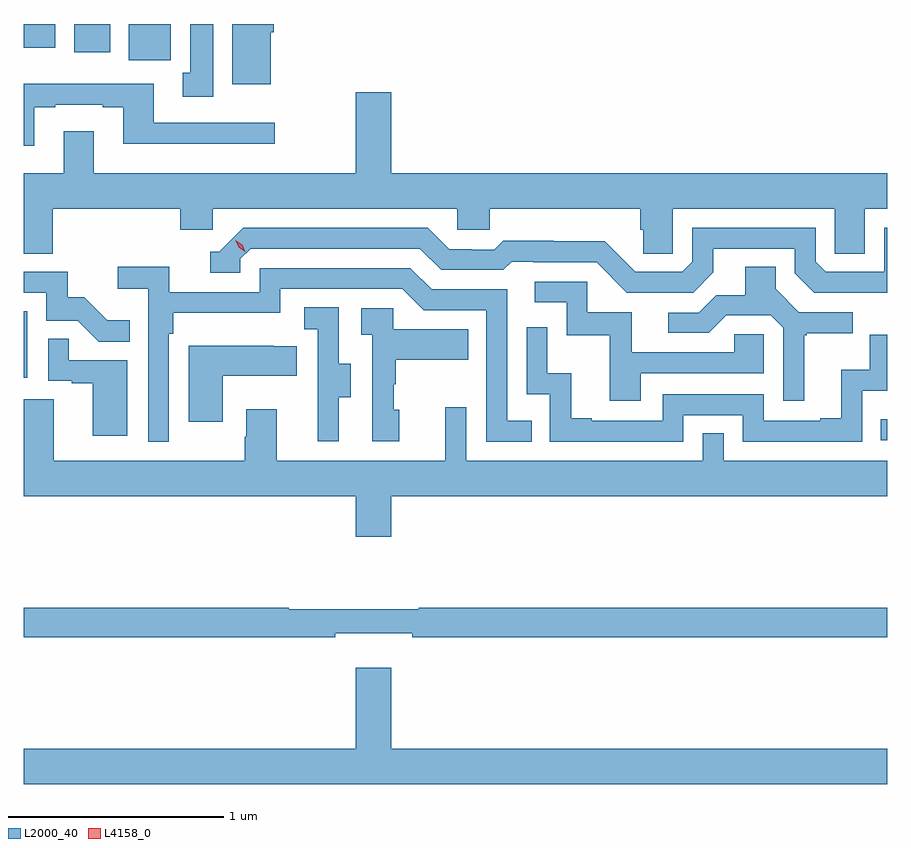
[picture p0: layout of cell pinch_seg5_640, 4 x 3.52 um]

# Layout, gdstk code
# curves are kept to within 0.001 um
import gdstk
lib = gdstk.Library(unit=1e-6, precision=1e-09)
def R(c, l, rs):  # rectangles x0, y0, x1, y1
    for r in rs: c.add(gdstk.rectangle(r[:2], r[2:], *l))
def P(c, l, *ps):  # polygons
    for p in ps: c.add(gdstk.Polygon(p, *l))
L2000_40 = (2000, 40)
L4158_0 = (4158, 0)

pinch_seg5_640 = lib.new_cell('pinch_seg5_640')
R(pinch_seg5_640, L2000_40, [(1030.573,859.683,1030.605,859.78), (1026.605,859.974,1026.622,860.281), (1027.091,861.444,1027.287,861.611), (1026.839,861.48,1027.006,861.611), (1026.605,861.5,1026.751,861.611)])
P(pinch_seg5_640, L2000_40, [(1027.75,861.572),(1027.763,861.572),(1027.763,861.611),(1027.571,861.611),(1027.571,861.332),(1027.75,861.332)],
  [(1027.483,861.611),(1027.376,861.611),(1027.376,861.385),(1027.343,861.385),(1027.343,861.273),(1027.483,861.273)],
  [(1026.655,861.225),(1026.751,861.225),(1026.751,861.237),(1026.971,861.237),(1026.971,861.225),(1027.067,861.225),(1027.067,861.056),(1027.768,861.056),(1027.768,861.153),(1027.207,861.153),(1027.207,861.334),(1026.605,861.334),(1026.605,861.048),(1026.655,861.048)],
  [(1026.74,860.756),(1027.331,860.756),(1027.331,860.658),(1027.482,860.658),(1027.482,860.756),(1028.613,860.756),(1028.613,860.658),(1028.763,860.658),(1028.763,860.756),(1029.461,860.756),(1029.461,860.658),(1029.475,860.658),(1029.475,860.548),(1029.612,860.548),(1029.612,860.756),(1030.362,860.756),(1030.362,860.548),(1030.501,860.548),(1030.501,860.756),(1030.605,860.756),(1030.605,860.92),(1028.308,860.92),(1028.308,861.295),(1028.144,861.295),(1028.144,860.92),(1026.931,860.92),(1026.931,861.115),(1026.791,861.115),(1026.791,860.92),(1026.605,860.92),(1026.605,860.548),(1026.74,860.548)],
  [(1030.605,860.667),(1030.59,860.667),(1030.59,860.463),(1030.32,860.463),(1030.272,860.511),(1030.272,860.667),(1029.702,860.667),(1029.702,860.511),(1029.654,860.463),(1029.438,860.463),(1029.296,860.605),(1029.06,860.605),(1029.06,860.608),(1028.827,860.608),(1028.785,860.565),(1028.682,860.565),(1028.682,860.568),(1028.575,860.568),(1028.476,860.667),(1027.623,860.667),(1027.512,860.556),(1027.469,860.556),(1027.469,860.46),(1027.608,860.46),(1027.608,860.523),(1027.656,860.571),(1028.439,860.571),(1028.538,860.472),(1028.827,860.472),(1028.866,860.511),(1028.965,860.511),(1028.965,860.508),(1029.258,860.508),(1029.399,860.367),(1029.705,860.367),(1029.799,860.461),(1029.799,860.571),(1030.176,860.571),(1030.176,860.457),(1030.266,860.367),(1030.605,860.366)],
  [(1027.278,860.177),(1027.298,860.177),(1027.298,860.273),(1027.794,860.273),(1027.794,860.385),(1028.358,860.385),(1028.457,860.286),(1028.748,860.286),(1028.748,859.677),(1028.957,859.677),(1028.957,859.773),(1028.844,859.773),(1028.844,860.382),(1028.494,860.382),(1028.395,860.481),(1027.698,860.481),(1027.698,860.37),(1027.28,860.37),(1027.28,860.486),(1027.041,860.486),(1027.041,860.384),(1027.182,860.384),(1027.182,859.677),(1027.278,859.677)],
  [(1030.219,860.169),(1030.231,860.169),(1030.231,860.18),(1030.444,860.18),(1030.444,860.277),(1030.194,860.277),(1030.087,860.384),(1030.087,860.486),(1029.947,860.486),(1029.947,860.354),(1029.812,860.354),(1029.732,860.274),(1029.591,860.274),(1029.591,860.181),(1029.778,860.181),(1029.859,860.262),(1030.065,860.262),(1030.122,860.205),(1030.122,859.866),(1030.219,859.866)],
  [(1027.097,860.239),(1026.993,860.239),(1026.886,860.346),(1026.81,860.346),(1026.81,860.463),(1026.605,860.463),(1026.605,860.367),(1026.711,860.367),(1026.711,860.238),(1026.855,860.238),(1026.953,860.14),(1027.097,860.14)],
  [(1029.463,859.995),(1030.032,859.995),(1030.032,860.175),(1029.895,860.175),(1029.895,860.091),(1029.421,860.091),(1029.421,860.277),(1029.216,860.277),(1029.216,860.418),(1028.973,860.418),(1028.973,860.322),(1029.12,860.322),(1029.12,860.169),(1029.319,860.169),(1029.319,859.866),(1029.463,859.866)],
  [(1028.065,859.882),(1028.119,859.882),(1028.119,860.037),(1028.064,860.037),(1028.064,860.3),(1027.905,860.3),(1027.905,860.197),(1027.968,860.197),(1027.968,859.893),(1027.967,859.893),(1027.967,859.68),(1028.065,859.68)],
  [(1028.344,859.824),(1028.319,859.824),(1028.319,859.943),(1028.329,859.943),(1028.329,860.057),(1028.663,860.057),(1028.663,860.197),(1028.316,860.197),(1028.316,860.295),(1028.169,860.295),(1028.169,860.171),(1028.22,860.171),(1028.22,859.68),(1028.344,859.68)],
  [(1029.66,859.8),(1029.936,859.8),(1029.936,859.677),(1030.488,859.677),(1030.488,859.913),(1030.605,859.913),(1030.605,860.172),(1030.524,860.172),(1030.524,860.011),(1030.391,860.011),(1030.391,859.786),(1030.295,859.786),(1030.295,859.773),(1030.032,859.773),(1030.032,859.896),(1029.564,859.896),(1029.564,859.773),(1029.235,859.773),(1029.235,859.786),(1029.14,859.786),(1029.14,859.994),(1029.03,859.994),(1029.03,860.206),(1028.934,860.206),(1028.934,859.896),(1029.042,859.896),(1029.042,859.677),(1029.66,859.677)],
  [(1027.084,860.055),(1026.815,860.055),(1026.815,860.153),(1026.72,860.153),(1026.72,859.959),(1026.827,859.959),(1026.827,859.947),(1026.926,859.947),(1026.926,859.704),(1027.084,859.704)],
  [(1027.528,859.982),(1027.871,859.982),(1027.871,860.119),(1027.763,860.119),(1027.763,860.122),(1027.37,860.122),(1027.37,859.77),(1027.528,859.77)],
  [(1028.308,859.424),(1030.605,859.424),(1030.605,859.588),(1029.846,859.588),(1029.846,859.715),(1029.75,859.715),(1029.75,859.588),(1028.655,859.588),(1028.655,859.837),(1028.558,859.837),(1028.558,859.588),(1027.777,859.588),(1027.777,859.828),(1027.637,859.828),(1027.637,859.7),(1027.63,859.7),(1027.63,859.588),(1026.745,859.588),(1026.745,859.874),(1026.605,859.874),(1026.605,859.424),(1028.144,859.424),(1028.144,859.236),(1028.308,859.236)],
  [(1028.048,858.791),(1028.404,858.791),(1028.404,858.772),(1030.605,858.772),(1030.605,858.908),(1028.434,858.908),(1028.434,858.901),(1027.834,858.901),(1027.834,858.908),(1026.605,858.908),(1026.605,858.772),(1028.048,858.772)],
  [(1030.605,858.256),(1028.308,858.256),(1028.308,858.631),(1028.144,858.631),(1028.144,858.256),(1026.605,858.256),(1026.605,858.092),(1030.605,858.092)])
P(pinch_seg5_640, L4158_0, [(1027.631,860.556),(1027.601,860.577),(1027.586,860.61),(1027.586,860.61),(1027.586,860.61),(1027.617,860.59),(1027.632,860.556),(1027.632,860.556)])

lib.write_gds('pinch_seg5_640.gds')
